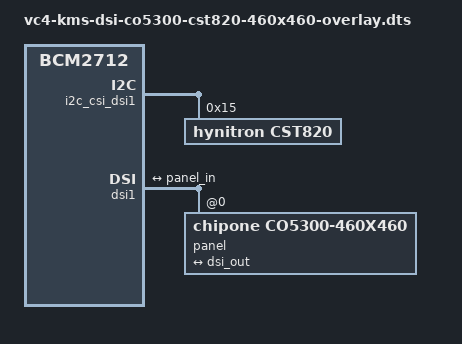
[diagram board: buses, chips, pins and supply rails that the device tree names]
/dts-v1/;
/plugin/;

/ {
	compatible = "raspberrypi,5-model-b", "brcm,bcm2712";

	fragment@0 {
		target = <&i2c_csi_dsi1>;
		__overlay__ {
			#address-cells = <1>;
			#size-cells = <0>;
			status = "okay";

			cst820: touchscreen@15 {
				compatible = "hynitron,cst820";
				reg = <0x15>;
				status = "okay";

				touchscreen-size-x = <460>;
				touchscreen-size-y = <460>;

				/* 可选：有接线时再打开
				interrupt-parent = <&gpio>;
				interrupts = <17 IRQ_TYPE_EDGE_FALLING>;
				reset-gpios = <&gpio 27 GPIO_ACTIVE_LOW>;
				*/
			};
		};
	};

	fragment@1 {
		target = <&dsi1>;
		__overlay__ {
			status = "okay";
			#address-cells = <1>;
			#size-cells = <0>;

			port {
				dsi_out: endpoint {
					remote-endpoint = <&panel_in>;
				};
			};

			panel@0 {
				compatible = "chipone,co5300-460x460";
				reg = <0>;
				status = "okay";

				/* 如果有 Reset 引脚，取消注释并改成实际 GPIO */
				/* reset-gpios = <&gpio 17 0>; */

				port {
					panel_in: endpoint {
						remote-endpoint = <&dsi_out>;
					};
				};
			};
		};
	};
};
